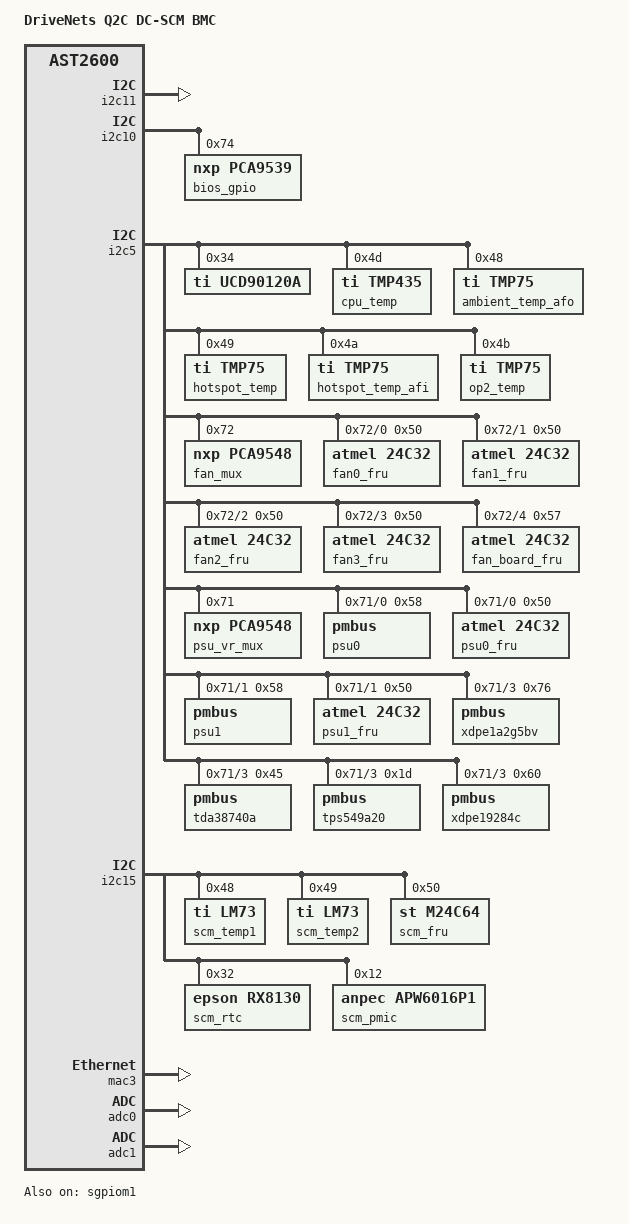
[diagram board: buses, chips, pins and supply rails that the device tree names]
// SPDX-License-Identifier: GPL-2.0+
// Copyright (c) 2024 DriveNets
//
// DriveNets Q2C BMC Device Tree
// BMC SoC: ASPEED AST2620 (AST2600-family variant)
//
// ============================================================================
// ARCHITECTURE (confirmed from schematic 8AESQ2SCM0A1G_SCH_20260203 PDF read
//               2026-03-05, and I2C tree diagram Q2C_I2C_Tree_20260123)
// ============================================================================
//
//  The AST2620 BMC is on the DC-SCM (Data Center Secure Control Module),
//  an OCP DC-SCM v2 form-factor module manufactured by Alpha Networks
//  (part number 8AESQ2CMB0A1G).  The DC-SCM plugs into the Q2C carrier board
//  via a Gold Finger connector.
//
//  I2C Bus Map (confirmed from block diagram and schematic):
//
//  LOCAL DC-SCM bus (BMC_I2C15, GPIOH4/H5, signal I2C_BMC_R_SCL15/SDA15):
//    &i2c15 : TEMP1@0x48, TEMP2@0x49, FRU EE@0x50, RTC@0x32,
//             PMIC@0x14, SCM PLD@0x40
//
//  Gold Finger (SCI-CONN) buses — AST2620 controller → connector signal → pins:
//    &i2c11 (BMC_I2C11) → I2C_3V3_0  → A15/A16  (carrier devices TBD)
//    &i2c10 (BMC_I2C10) → I2C_3V3_4  → A45/A46  (PCA9539#27 BIOS GPIO @0x74)
//    &i2c5  (BMC_I2C5)  → I2C_3V3_5  → A47/A48  (UCD90120A, TMP435, TMP75s,
//                                                   PCA9548#16 fan, PCA9548#15 PSU/VR)
//    &i2c8  (BMC_I2C8)  → I2C_I3C_1V8_13 → A61/A62  (via VT, TBD)
//    &i2c16 (BMC_I2C16) → PFR I3C1   → I2C_I3C_1V8_14 → B39/B40 (via MIX)
//    [further I3C/HVI3C buses: I2C2/3/4→HVI3C4/5/6, I3C1/2 on 1V0 — TBD]
//
//  PFR chip: PROT_AST1060 (Aspeed AST1060)
//    BMC → AST1060: via BMC_I2C12, BMC_I2C7, BMC_I2C9, BMC_I2C6, BMC_HVI3C3
//    AST1060 → gold finger: SMBF1→I2C_3V3_2(A26/A27), SMBF2→I2C_3V3_1(A17/A18),
//                           SMBF3→I2C_3V3_3(A43/A44), SMBF4→TBD
//    AST1060 mailbox: PFR_I2C3 → VT → I2C_I3C_1V8_12 (A53/A59)
//    AST1060 → SCM PLD: PFR_I2C5 → I2C_3V3_6 (A49/A50), PLD @0x6F (TBD)
//
//  Host CPU: AMD x86 (COMe module)
//
//  Host ↔ BMC interface: LPC — BMC receives LPC from eSPI-to-LPC bridge
//    AMD COMe CPU → eSPI → ESPI_HPMCTRL bridge chip → LPC → BMC AST2620
//    The bridge chip (labeled ESPI_HPMCTRL in schematic) converts the CPU's
//    eSPI to LPC which the BMC AST2620 receives on its GPIOW LPC pins.
//
//    AST2620 LPC pins (GPIOW bank):
//      AE7 = GPIOW4_LCLK_ESPICK  → LCLK  (LPC clock from bridge)
//      AF6 = GPIOW7_LPCRST_ESPIRST# → LRST (LPC reset from bridge)
//      AB7 = GPIOW0_LAD0_ESPID0  ↔ LAD0  (LPC data, via ESPI_HPMCTRL_IO_0)
//      AB5 = GPIOW1_LAD1_ESPID1  ↔ LAD1  (via ESPI_HPMCTRL_IO_1)
//      AD5 = GPIOW2_LAD2_ESPID2  ↔ LAD2  (via ESPI_HPMCTRL_IO_2)
//      AE5 = GPIOW3_LAD3_ESPID3  ↔ LAD3  (via ESPI_HPMCTRL_IO_3)
//    KCS IPMI channels are exposed over LPC transport.
//
//  Management networking:
//    OOB NIC — Intel I210 via PCIe Gen2 x1 (reset: I210_RST_L, sch pg 4/55)
//    NCSI    — AMD x86 COMe NIC → DC-SCM MAC (TBD: mac0 or mac1)
//
//  UART / Console:
//    UART0_BMC + UART1_BMC → physical MUX (UART_SEL push-button)
//    MUX output → Console Board → UART_RJ45 (RS-232)
//    Console UART: ttyS4 (UART5) — confirmed via ast2600_openbmc_spl_defconfig
//    CONFIG_BOOTARGS="console=ttyS4,115200n8 root=/dev/ram rw"
//
//  SGPIO:
//    SGPIOM1 (GPIOH0-H3) → SCM PLD → panel LEDs  (only chain, confirmed)
//    SGPIOM0: NOT used — no SGPIOM0 signals found in schematic.
//
//  Fan control: via SCM PLD (I2C15 @0x40) — PLD generates PWM/tach signals.
//    AST2620 GPIOF0-F7 carry PWM8-15 function but are pulled-down on Q2C
//    (R31T 100k pull-down = unused).  Fan setpoints written to PLD over I2C.
// ============================================================================

// TODO: For production, replace this EVB include with the SoC dtsi
// (#include "aspeed-g6.dtsi") and explicitly enable only the peripherals
// Q2C needs (fmc, spi, uart, mac, i2c, etc.).  Keeping EVB for now to
// inherit working flash/uart/mac defaults while I2C topology is validated.
#include "aspeed-ast2600-evb.dts"

/ {
	model = "DriveNets Q2C DC-SCM BMC";
	// AST2620 is a variant of AST2600; include both for kernel matching.
	compatible = "drivenets,q2c-bmc", "aspeed,ast2620", "aspeed,ast2600";
};

// ---------------------------------------------------------------------------
// i2c11 — Gold Finger I2C_3V3_0 (BMC_I2C11, connector pins A15/A16)
//
// This bus reaches the carrier board via the gold finger connector.
// SCM FRU EEPROM is on the LOCAL bus i2c15 (not here).
// Carrier-side devices on this bus: TBD.
// ---------------------------------------------------------------------------
&i2c11 {
	status = "okay";
	/* TODO: add carrier-board devices on I2C_3V3_0 once identified */
};

// ---------------------------------------------------------------------------
// i2c10 — BIOS update bus (BMC_I2C10, Gold Finger I2C_3V3_4, pins A45/A46)
//
// Confirmed: PCA9539#27 GPIO expander at 0x74 for BIOS SPI updates.
// ---------------------------------------------------------------------------
&i2c10 {
	status = "okay";

	bios_gpio: pca9539@74 {
		compatible = "nxp,pca9539";
		reg = <0x74>;
		gpio-controller;
		#gpio-cells = <2>;
	};
};

// ---------------------------------------------------------------------------
// i2c5 — Main sensor/management bus (I2C_3V3_5, Gold Finger A47/A48)
//
// Signal name: SCL5_BMC_CPLD_UCD_FRU / SDA5_BMC_CPLD_UCD_FRU
//
// Direct devices (confirmed from schematic pg 34 and I2C tree):
//   UCD90120A   — power sequencer at 0x34
//   TMP435      — dual-channel temp (local + CPU remote) at 0x4D
//   TMP75#0     — Ambient Thermal Sensor For AFO at 0x48
//   TMP75#1     — Hot Spot Thermal Sensor at 0x49
//   TMP75#2     — Hot Spot Thermal Sensor For AFI at 0x4A
//   TMP75#3     — Thermal Sensor For OP2 at 0x4B
//
// Muxed devices:
//   PCA9548#16  — Fan Extension Board mux at 0x72 (reset: 9548#16_RST_L)
//   PCA9548#15  — PSU / Voltage Regulator mux at 0x71
// ---------------------------------------------------------------------------
&i2c5 {
	status = "okay";

	ucd90120a: ucd90120a@34 {
		compatible = "ti,ucd90120a";
		reg = <0x34>;
	};

	tmp435: temperature-sensor@4d {
		compatible = "ti,tmp435";
		reg = <0x4d>;
		label = "cpu_temp";
		#thermal-sensor-cells = <1>;
	};

	tmp75_0: temperature-sensor@48 {
		compatible = "ti,tmp75";
		reg = <0x48>;
		label = "ambient_temp_afo";
		#thermal-sensor-cells = <0>;
	};

	tmp75_1: temperature-sensor@49 {
		compatible = "ti,tmp75";
		reg = <0x49>;
		label = "hotspot_temp";
		#thermal-sensor-cells = <0>;
	};

	tmp75_2: temperature-sensor@4a {
		compatible = "ti,tmp75";
		reg = <0x4a>;
		label = "hotspot_temp_afi";
		#thermal-sensor-cells = <0>;
	};

	tmp75_3: temperature-sensor@4b {
		compatible = "ti,tmp75";
		reg = <0x4b>;
		label = "op2_temp";
		#thermal-sensor-cells = <0>;
	};

	// PCA9548#16 — Fan Extension Board mux
	fan_mux: i2c-mux@72 {
		compatible = "nxp,pca9548";
		reg = <0x72>;
		#address-cells = <1>;
		#size-cells = <0>;
		i2c-mux-idle-disconnect;

		i2c@0 {
			#address-cells = <1>;
			#size-cells = <0>;
			reg = <0>;
			fan0_eeprom: eeprom@50 {
				compatible = "atmel,24c32";
				reg = <0x50>;
				label = "fan0_fru";
			};
		};

		i2c@1 {
			#address-cells = <1>;
			#size-cells = <0>;
			reg = <1>;
			fan1_eeprom: eeprom@50 {
				compatible = "atmel,24c32";
				reg = <0x50>;
				label = "fan1_fru";
			};
		};

		i2c@2 {
			#address-cells = <1>;
			#size-cells = <0>;
			reg = <2>;
			fan2_eeprom: eeprom@50 {
				compatible = "atmel,24c32";
				reg = <0x50>;
				label = "fan2_fru";
			};
		};

		i2c@3 {
			#address-cells = <1>;
			#size-cells = <0>;
			reg = <3>;
			fan3_eeprom: eeprom@50 {
				compatible = "atmel,24c32";
				reg = <0x50>;
				label = "fan3_fru";
			};
		};

		i2c@4 {
			#address-cells = <1>;
			#size-cells = <0>;
			reg = <4>;
			fan_board_eeprom: eeprom@57 {
				compatible = "atmel,24c32";
				reg = <0x57>;
				label = "fan_board_fru";
			};
		};
	};

	// PCA9548#15 — PSU and Voltage Regulator mux
	psu_vr_mux: i2c-mux@71 {
		compatible = "nxp,pca9548";
		reg = <0x71>;
		#address-cells = <1>;
		#size-cells = <0>;
		i2c-mux-idle-disconnect;

		// CH0: PSU0 (via ISO level shifter)
		i2c@0 {
			#address-cells = <1>;
			#size-cells = <0>;
			reg = <0>;
			psu0: power-supply@58 {
				compatible = "pmbus";
				reg = <0x58>;
				label = "psu0";
			};
			psu0_eeprom: eeprom@50 {
				compatible = "atmel,24c32";
				reg = <0x50>;
				label = "psu0_fru";
			};
		};

		// CH1: PSU1 (via ISO level shifter)
		i2c@1 {
			#address-cells = <1>;
			#size-cells = <0>;
			reg = <1>;
			psu1: power-supply@58 {
				compatible = "pmbus";
				reg = <0x58>;
				label = "psu1";
			};
			psu1_eeprom: eeprom@50 {
				compatible = "atmel,24c32";
				reg = <0x50>;
				label = "psu1_fru";
			};
		};

		// CH3: Voltage regulators
		i2c@3 {
			#address-cells = <1>;
			#size-cells = <0>;
			reg = <3>;
			xdpe1a2g5bv: pmbus@76 {
				compatible = "pmbus";
				reg = <0x76>;
			};
			tda38740a: pmbus@45 {
				compatible = "pmbus";
				reg = <0x45>;
			};
			tps549a20: pmbus@1d {
				compatible = "pmbus";
				reg = <0x1d>;
			};
			xdpe19284c: pmbus@60 {
				compatible = "pmbus";
				reg = <0x60>;
			};
		};
	};
};

// ---------------------------------------------------------------------------
// SGPIOM1 — drives Q2C carrier board panel LEDs via SCM PLD
//
// Hardware: SGPIOM1_BMC_PLD_{CLK,LD,DO} → PLD (OUT on GPIOH0/H1/H2)
//           SGPIOM1_PLD_BMC_DI ← PLD (IN on GPIOH3)
// AST2620 pins: GPIOH0=A18, GPIOH1=B18, GPIOH2=C18, GPIOH3=A17
// Schematic: SGPIOM1 (not SGPIOM0) — confirmed from schematic I2C/SGPIO page.
//
// Bit assignments are PLACEHOLDERS — verify from SCM PLD firmware.
// ---------------------------------------------------------------------------
&sgpiom1 {
	status = "okay";
	ngpios = <32>;
	gpio-line-names =
		"led-system-green",  "led-system-amber",
		"led-psu0-green",    "led-psu0-amber",
		"led-psu1-green",    "led-psu1-amber",
		"led-fan-green",     "led-fan-amber",
		"led-sync-green",    "led-sync-amber",
		"led-fan0-green",    "led-fan0-amber",
		"led-fan1-green",    "led-fan1-amber",
		"led-fan2-green",    "led-fan2-amber",
		"led-fan3-green",    "led-fan3-amber",
		"", "", "", "", "", "", "", "",
		"", "", "", "", "", "", "", "";
};

// ---------------------------------------------------------------------------
// GPIO — named lines from the DC-SCM / carrier board
//
// ARCHITECTURE NOTE (confirmed from full schematic PDF 8AESQ2SCM0A1G_SCH_20260203,
//                   read 2026-03-05):
//   Platform signals route through the SCM PLD.  The BMC monitors PLD→BMC status
//   via the GPIOQ bank (TACH0-7 function pins) and GPIOR bank (TACH8-15 function
//   pins).  BMC control outputs to PLD use the GPIOO bank (PWM0-7 function) and
//   GPIOP bank (PWM8-15/THRU function).
//
//   GPIO bank layout (all balls confirmed from pg 23 "AST2600 4/6", 2026-03-05):
//
//   GPIOO (PWM0-7 function — BMC→PLD control outputs):
//     O0 (AD26)  O1 (AD22)  O2 (AD23)  O3 (AD24)
//     O4 (AD25)  O5 (AC22)  O6 (AC24)  O7 (AC23)
//     Signals from PLD pg 27: BMC_PLD_GPIOO1/2/3/6/7
//
//   GPIOP (PWM8-15/THRU function — mixed):
//     P0 (AB22) THRUIN0   P1 (W24) THRUOUT0   P2 (AA23) THRUIN1   P3 (AA24) THRUOUT1
//     P4 (W23) THRUIN2    P5 (AB23) THRUOUT2   P6 (AB24)            P7 (Y23) HBLED#
//
//   GPIOQ (TACH0-7 function — PLD→BMC status inputs):
//     Q0 (AA25)  Q1 (AB25)  Q2 (Y24)  Q3 (AB26)
//     Q4 (Y26)   Q5 (AC26)  Q6 (Y25)  Q7 (AA26)
//     Signals from PLD pg 27/28/31: PLD_BMC_GPIOQ0/3/4/5/6/7
//
//   GPIOR (TACH8-15 function — mixed):
//     R0 (V25)  R1 (U24)  R2 (V24)  R3 (V26)
//     R4 (U25)  R5 (T23)  R6 (W26)  R7 (U26)
//     R0-R2: PLD_BMC_GPIOR0/1/2 (inputs)    R4: FM_BMC_READY_N (output)
//     R5: PWRGD_P12V_AUX1 (input)            R6: FM_THERMTRIP_N (input)
//     R7: IRQ_SMI_BMC_N (input from PLD)
//
//   GPIOB0 (J26): hpm-bmc-stby-rdy (SALT1 mode, input from HPM FPGA)
// ---------------------------------------------------------------------------
&gpio0 {
	gpio-line-names =
	// A0-A7
	// A4-A7: SGPIOM2 function (SGPM2CK/LD/O/I to SCM PLD) — see sgpiom2 node
	"", "", "", "", "", "", "", "",
	// B0-B7
	// B0 (J26) = GPIOB0_SALT1: hpm-bmc-stby-rdy (input from HPM FPGA)
	// B1 (K23) = GPIOB1_SALT2: signal TBD
	// B6 (H25) = GPIOB6_TXD4: UART4 TX to PLD [pg 27]
	// B7 (J24) = GPIOB7_RXD4: UART4 RX from PLD [pg 27]
	"hpm-bmc-stby-rdy", "", "", "", "", "", "", "",
	// C0-C7 (RGMII3/MAC3 pins — not used as named GPIOs)
	"", "", "", "", "", "", "", "",
	// D0-D7 (RGMII4/MAC4 pins — MAC4 carries NCSI)
	"", "", "", "", "", "", "", "",
	// E0-E7 (RGMII4/MAC4 pins continued)
	"", "", "", "", "", "", "", "",
	// F0-F7 (GPIOF0-F7 = SD1/PWM8-15, pulled down — unused on Q2C)
	"", "", "", "", "", "", "", "",
	// G0-G7 (GPIOG0-G7 = SD2/SALT, pulled down — unused on Q2C)
	"", "", "", "", "", "", "", "",
	// H0-H7 (H0-H3 = SGPIOM1 to PLD; H4-H7 = I2C15/I2C16)
	"", "", "", "", "", "", "", "",
	// I0-I7 (I0-I4=JTAG-M2 to HPM; I5-I7=ACPI PLD_BMC_GPIOI5/6/7)
	"", "", "", "", "", "", "", "",
	// J0-J7 (I2C bus pins)
	"", "", "", "", "", "", "", "",
	// K0-K7 (I2C bus pins)
	"", "", "", "", "", "", "", "",
	// L0-L7 (I2C/VGA pins)
	"", "", "", "", "", "", "", "",
	// M0-M7 (UART1 modem control; M6=UART1 TX, M7=UART1 RX to PLD [pg 29])
	"", "", "", "", "", "", "", "",
	// N0-N7 (UART2; N6=UART2 TX, N7=UART2 RX to PLD [pg 27])
	"", "", "", "", "", "", "", "",
	// O0-O7 (GPIOO bank: PWM0-7 function — BMC→PLD control outputs)
	// All balls confirmed from schematic pg 23 (AST2600 4/6), 2026-03-05 PDF read.
	// O0 (AD26): unassigned   O4 (AD25): unassigned
	// O1 (AD22): BMC_PLD_GPIOO1 → PLD [pg 27]
	// O2 (AD23): BMC_PLD_GPIOO2 → PLD PROGRAMN (PLD programming control)
	// O3 (AD24): BMC_PLD_GPIOO3 → PLD [pg 27]
	// O6 (AC24): BMC_PLD_GPIOO6 → PLD JTAGENB (PLD JTAG enable)
	// O7 (AC23): BMC_PLD_GPIOO7 → PLD [pg 27]
	"",               // O0 (AD26) unassigned
	"bmc-pld-gpioo1", // O1 (AD22) BMC_PLD_GPIOO1 → PLD [pg 27]
	"pld-programn",   // O2 (AD23) BMC_PLD_GPIOO2 → PLD PROGRAMN
	"bmc-pld-gpioo3", // O3 (AD24) BMC_PLD_GPIOO3 → PLD [pg 27]
	"",               // O4 (AD25) unassigned
	"",               // O5 (AC22) unassigned
	"pld-jtagenb",    // O6 (AC24) BMC_PLD_GPIOO6 → PLD JTAGENB
	"bmc-pld-gpioo7", // O7 (AC23) BMC_PLD_GPIOO7 → PLD [pg 27]
	// P0-P7 (GPIOP bank: PWM8-15/THRU function — mixed input/output)
	// All balls confirmed from schematic pg 23 (AST2600 4/6), 2026-03-05 PDF read.
	// THRU pairs: P0(THRUIN0)/P1(THRUOUT0), P2/P3, P4/P5.
	// P0 (AB22): PCIE_HPM_SCM_PLD_PERST_N — INPUT from PLD [pg 27] via THRUIN0
	// P1 (W24):  BMC_PLD_GPIOP1 — OUTPUT to PLD [pg 31] via THRUOUT0
	// P2 (AA23): unassigned (THRUIN1)
	// P3 (AA24): BMC_PLD_GPIOP3 — OUTPUT to PLD [pg 31] via THRUOUT1
	// P4 (W23):  unassigned (THRUIN2)
	// P5 (AB23): BMC_PLD_GPIOP4 — OUTPUT to PLD [pg 30] via THRUOUT2
	//            (PLD names this "GPIOP4" — maps to AST2620 GPIOP5/THRUOUT2)
	// P6 (AB24): PCIE_AST2600_RST# — OUTPUT to gold finger [pg 9]
	// P7 (Y23):  FM_BMC_HEARTBEAT_N — BMC heartbeat to PLD (HBLED# function)
	"pcie-hpm-scm-pld-perst-n", // P0 (AB22) INPUT from PLD [pg 27]
	"bmc-pld-gpiop1",            // P1 (W24)  OUTPUT to PLD [pg 31]
	"",                          // P2 (AA23) unassigned
	"bmc-pld-gpiop3",            // P3 (AA24) OUTPUT to PLD [pg 31]
	"",                          // P4 (W23)  unassigned
	"bmc-pld-gpiop4",            // P5 (AB23) OUTPUT to PLD [pg 30]
	"pcie-ast2600-rst-n",        // P6 (AB24) PCIE_AST2600_RST# [pg 9]
	"fm-bmc-heartbeat-n",        // P7 (Y23)  FM_BMC_HEARTBEAT_N (HBLED#)
	// Q0-Q7 (GPIOQ bank: TACH0-7 function — PLD→BMC status inputs)
	// All balls confirmed from schematic pg 23 (AST2600 4/6), 2026-03-05 PDF read.
	// Q1 (AB25): unlabeled in schematic — possibly PLD_BMC_GPIOQ1 or unused.
	// Q2 (Y24): no connect (confirmed in schematic).
	// Signals confirmed from PLD pages 27/28/31.
	// Q6/Q7 CORRECTED: Q6=Y25 and Q7=AA26 (previously swapped in DTS).
	"pld-bmc-gpioq0", // Q0 (AA25) PLD_BMC_GPIOQ0 [pg 27]
	"",               // Q1 (AB25) unlabeled/unused
	"",               // Q2 (Y24)  no connect
	"pld-bmc-gpioq3", // Q3 (AB26) PLD_BMC_GPIOQ3 [pg 31]
	"pld-bmc-gpioq4", // Q4 (Y26)  PLD_BMC_GPIOQ4 [pg 31]
	"pld-bmc-gpioq5", // Q5 (AC26) PLD_BMC_GPIOQ5 [pg 27]
	"pld-bmc-gpioq6", // Q6 (Y25)  PLD_BMC_GPIOQ6 [pg 27] — CORRECTED (was AA26)
	"pld-bmc-gpioq7", // Q7 (AA26) PLD_BMC_GPIOQ7 [pg 28] — CORRECTED (was Y25)
	// R0-R7 (GPIOR bank: TACH8-15 function — mixed input/output)
	// All balls confirmed from schematic pg 23 (AST2600 4/6), 2026-03-05 PDF read.
	// CORRECTIONS: R0=V25, R1=U24, R2=V24, R3=V26, R4=U25 (all shifted vs old DTS).
	// R3 (V26): unassigned (not fm-bmc-ready-n — that is at R4).
	// R4 (U25): FM_BMC_READY_N — OUTPUT (was wrongly at R3 in old DTS).
	"pld-bmc-gpior0",  // R0 (V25) PLD_BMC_GPIOR0 INPUT [pg 27] — CORRECTED (was U24)
	"pld-bmc-gpior1",  // R1 (U24) PLD_BMC_GPIOR1 INPUT [pg 27] — CORRECTED (new)
	"pld-bmc-gpior2",  // R2 (V24) PLD_BMC_GPIOR2 INPUT [pg 27] — CORRECTED (was V26)
	"",                // R3 (V26) unassigned — CORRECTED (fm-bmc-ready-n was wrong)
	"fm-bmc-ready-n",  // R4 (U25) FM_BMC_READY_N OUTPUT [pg 27] — CORRECTED (was R3)
	"pwrgd-p12v-aux1", // R5 (T23) PWRGD_P12V_AUX1 INPUT [pg 27] ✓
	"fm-thermtrip-n",  // R6 (W26) FM_THERMTRIP_N INPUT via R86 [pg 31] ✓
	"irq-smi-bmc-n";   // R7 (U26) IRQ_SMI_BMC_N INPUT [pg 27] ✓
	// Signals confirmed from PLD schematic but AST2620 bank/bit still TBD:
	//   irq-nmi-event-n      ← IRQ_NMI_EVENT_R_N [pg 28]
	//   sys-pwrok-bmc        ← SYS_PWROK_BMC [pg 28] → AST2620 GPIOV/GPIOI region
	//   fm-bios-post-cmplt-n ← FM_BIOS_POST_CMPLT_N [pg 28]
	//   pld-irq-n            ← PLD_IRQ_N [pg 28]
	//   rst-rsmrst-n         ← RST_RSMRST_N [pg 28]
	//   rst-pfr-bmc-ssprst-n ← RST_PFR_BMC_SSPRST_N [pg 28]
};

// ---------------------------------------------------------------------------
// i2c15 — LOCAL DC-SCM bus (BMC_I2C15, signal I2C_BMC_R_SCL15/SDA15)
//
// AST2620 pins: GPIOH4=D18 (SCL), GPIOH5=B17 (SDA) — muxed from SGPS1
// This bus is entirely within the DC-SCM module and does NOT go through
// the gold finger connector.
//
// Confirmed devices (from schematic pg 34 "TMP_EE_RTC" and pg 36 "PMIC",
//                   full PDF read 2026-03-05):
//   TEMP1        — LM73CIMK temp sensor at 0x48 (part confirmed)
//   TEMP2        — LM73CIMK temp sensor at 0x49 (part confirmed)
//   FRU EE       — ST M24C64-RMN6TP EEPROM at 0x50 (8KB, pagesize 32B)
//   RTC          — Epson RX8130CE real-time clock at 0x32 (part confirmed)
//   PMIC         — APW6016P1 DC-DC converter at 0x12 (part confirmed)
//   SCM PLD      — Platform Logic Device at 0x40 (update/programming interface)
//                  Also exposed at 0x6F via PFR_I2C5 on carrier (TBD)
// ---------------------------------------------------------------------------
&i2c15 {
	status = "okay";

	scm_temp1: temperature-sensor@48 {
		compatible = "ti,lm73";
		reg = <0x48>;
		label = "scm_temp1";
		#thermal-sensor-cells = <0>;
	};

	scm_temp2: temperature-sensor@49 {
		compatible = "ti,lm73";
		reg = <0x49>;
		label = "scm_temp2";
		#thermal-sensor-cells = <0>;
	};

	scm_fru: eeprom@50 {
		compatible = "st,m24c64";
		reg = <0x50>;
		label = "scm_fru";
		pagesize = <32>;
	};

	scm_rtc: rtc@32 {
		compatible = "epson,rx8130";
		reg = <0x32>;
	};

	scm_pmic: regulator@12 {
		/* APW6016P1 step-down DC-DC converter (confirmed from pg 36) */
		compatible = "anpec,apw6016p1";
		reg = <0x12>;
	};

	scm_pld: i2c-slave@40 {
		/* SCM PLD — Lattice LCMXO3D-9400HC-5BG256C (BGA256 16x16)
		 * This address (0x40) is the update/programming interface.
		 * PLD firmware provides: fan control, SGPIO panel LEDs (SGPIOM1),
		 * SGPIO HPM chain (SGPIO_SCM_HPM_CLK/LD/DO/DI → HPM FPGA [9]),
		 * SGPIO PFR chain (SGPIO_PFR_LD_N, SGPIO_PFR_DIN → AST1060 [10]),
		 * BMC↔PLD GPIO bus (PLD_BMC_GPIO0-7 on GPIOO, BMC_PLD_GPIO0-7 on GPIOP),
		 * UART5 data channel (UART5_TX/RX_BMC_PLD_DATA [21,26]).
		 * A second address 0x6F is accessible via PFR I2C5 (TBD).
		 * Replace compatible with actual userspace/kernel driver when available. */
		reg = <0x40>;
	};
};

// ---------------------------------------------------------------------------
// i2c16 — BMC ↔ PROT_AST1060 (PFR chip) primary I2C link (BMC_I2C16)
//
// Schematic signal: I2C_BMC_PFR_SCL16_R / I2C_BMC_PFR_SDA16_R
// AST2620 pins: GPIOH6=C17 (SCL), GPIOH7=E18 (SDA)
//
// PFR chip: Aspeed PROT_AST1060 (firmware resilience co-processor)
//   The AST1060 sits between the BMC and carrier-board I2C buses, acting as
//   a firewall.  It exposes filtered buses to the gold finger (SMBF1-4) and
//   provides a mailbox interface at I2C_I3C_1V8_12 (gold finger A53/A59).
//
//   BMC → AST1060 management: also via BMC_I2C12, BMC_I2C7, BMC_I2C9,
//                              BMC_I2C6, BMC_HVI3C3_I2C1 (bus topology TBD).
//   AST1060 I2C address for BMC access: TBD (typically 0x38 or 0x70).
// ---------------------------------------------------------------------------
// &i2c16 is not defined in aspeed-g6.dtsi (AST2600 only has i2c0–i2c15).
// BMC_I2C16 / PFR AST1060 link — enable once upstream DTSI adds the label.
// &i2c16 {
// 	status = "okay";
// 	/* TODO: add AST1060 node (address TBD) once PFR firmware I2C map is confirmed */
// };

// ---------------------------------------------------------------------------
// LPC / KCS — host IPMI interface (BMC receives LPC from eSPI-to-LPC bridge)
//
// AMD COMe CPU → eSPI → ESPI_HPMCTRL bridge → LPC → AST2620 GPIOW pins
// The BMC is in standard LPC mode (not eSPI peripheral mode).
//
// KCS channel IO port address: TBD — standard IPMI is 0xCA2/0xCA3 (KCS3).
// Confirm from BIOS config or ipmitool on the host side on first boot.
// ---------------------------------------------------------------------------
// &lpc_ctrl {
//     status = "okay";
// };
// &kcs3 {
//     status = "okay";
//     aspeed,lpc-io-reg = <0xCA2 0xCA3>;
// };

// SGPIOM0 — NOT used on Q2C (no SGPIOM0 signals found in schematic).

// ---------------------------------------------------------------------------
// SGPIOM2 — second SGPIO master chain between BMC and SCM PLD
//
// All four SGPIOM2 signals confirmed from PLD U2 schematic [pg 20]:
//   SGPIOM2_BMC_PLD_CLK  — BMC drives clock  (IN to PLD)  [pg 20]
//   SGPIOM2_BMC_PLD_DO   — BMC drives data   (IN to PLD)  [pg 20]
//   SGPIOM2_BMC_PLD_LD   — BMC drives LOAD   (IN to PLD)  [pg 20]
//   SGPIOM2_BMC_PLD_DI   — PLD drives data   (OUT from PLD, BMC reads) [pg 20]
//
// BMC is SGPIO master; SCM PLD is slave.  This chain carries PLD status bits
// that don't fit on SGPIOM1 (panel LEDs) or the GPIOO bank.
//
// AST2620 pinmux: GPIOA4-A7 (balls K26/L24/L23/K25) confirmed from pg 20
// schematic review, 2026-03-05.  Use pinctrl_sgpm2ck/ld/o/i_default.
// Bit count and data format: TBD from PLD firmware docs.
// ---------------------------------------------------------------------------
// &sgpiom2 {
//     status = "okay";
//     /* SCM PLD SGPIOM2 slave chain — bit count TBD from PLD firmware */
//     ngpios = <TBD>;
//     gpio-line-names = /* TBD */;
// };

// ---------------------------------------------------------------------------
// Fan PWM/tach — NOT driven directly by AST2620 PWM hardware.
// AST2620 GPIOF0-F7 carry PWM8-15 function but are pulled down (R31T 100k)
// and not connected to fans on Q2C.
// Fan control is via the SCM PLD at i2c15 @0x40.
// ---------------------------------------------------------------------------
// pwm_tacho does not exist in aspeed-g6.dtsi (AST2600). The old combined
// PWM/tach controller is only in AST2400/AST2500 (g4/g5). Fan control on
// Q2C is via the SCM PLD over i2c15 @0x40, so no direct PWM is needed.
// &pwm_tacho {
// 	status = "disabled";
// };

// ---------------------------------------------------------------------------
// UART / Console
//
// UART0_BMC + UART1_BMC → physical MUX (UART_SEL push-button) → Console Board → UART_RJ45
// Console UART: ttyS4 (UART5) — confirmed from ast2600_openbmc_spl_defconfig.
//
// BMC ↔ SCM PLD UART channels (confirmed from PLD U2 schematic):
//   UART2_TX_BMC_PLD_DATA [21]    — BMC → PLD  (IN to PLD)
//   UART4_TX_BMC_PLD_DATA [21]    — PLD → BMC  (OUT from PLD, BMC receives on UART4 RX)
//   UART5_RX_PLD_BMC_DATA [21,31] — BMC → PLD  (BMC UART5 TX, IN to PLD, via R328 33Ω)
//   UART5_TX_BMC_PLD_DATA [21,26] — PLD → BMC  (BMC UART5 RX, via R371 33Ω + JP1 debug)
//
// PFR-related UART channels (via PLD, not direct to BMC):
//   UART1_TX_PFR_PLD_DATA [12,14,31] — PFR → PLD (via R349 33Ω, OUT from PLD side)
//
// Enable UART nodes once protocol per channel is defined and ttyS mapping confirmed.
// ---------------------------------------------------------------------------
// &uart5 {
//     status = "okay";
//     /* BMC ↔ SCM PLD extended data channel (UART5_TX/RX_BMC_PLD_DATA) */
// };

// ---------------------------------------------------------------------------
// Management Network
//
// 1. OOB NIC — Intel I210 via PCIe Gen2 x1 (reset: I210_RST_L)
// 2. NCSI — AMD x86 COMe NIC → DC-SCM MAC4 (RGMII4 pins confirmed from pg 23)
//
// AST2620 MAC4 = kernel mac3 (0-indexed).  RGMII4 signal group confirmed on
// AST2620 ball D-row (MAC4 RGMII signals) from schematic pg 23, 2026-03-05.
// ---------------------------------------------------------------------------
&mac3 {
	use-ncsi;
	status = "okay";
};

// ---------------------------------------------------------------------------
// ADC — Voltage Rail Sensing
// Resistors confirmed from schematic pg 32 (zoomed images 2026-03-04).
// Channel → pin mapping confirmed from schematic pg 23 (2026-03-04 image).
//
// aspeed_adc iio driver: V_real = (raw × 1800 mV / 4096) × scale_factor
// Scale factor = (R_top + R_bottom) / R_bottom (direct-sense rails = 1.0).
//
// FULL CONFIRMED MAPPING (13 active channels, confirmed from pg 23 + pg 32 PDF):
//   Ch  GPIO/SALT  Ball  Signal                      R_top  R_bot  Scale
//   ──  ─────────  ────  ──────────────────────────  ─────  ─────  ─────
//   0   GPIT0      AD20  VCC_12V_SENSE (P12V_AUX)    20k   2.49k  9.036
//   1   GPIT1      AC18  VCC_3V3_SENSE                3k    2k    2.500
//   2   GPIT2      AE19  VCC_2V5_SENSE                2k   2.49k  1.803
//   3   GPIT3      AD19  VCC_1V8_SENSE                2k    3k    1.667
//   4   GPIT4      AC19  VCC_DDRVDDQ_SENSE (1.2V)  direct  —     1.000
//   5   GPIT5      AB19  VCC_1V0_SENSE (1.0V)      direct  —     1.000
//   6   GPIT6      AB18  VCC_DDRVTT_SENSE (~0.6V)  direct  —     1.000
//   7   GPIT7      AE18  A_P3V_BAT_SCALED            200k  100k   3.000
//                          (MOSFET OR: D7/D8=SBR1A040S3-7, Q=MTDH500RETU-G)
//   8   GPIU0/S9   AB16  VCC_3V3_RGM_SENSE            3k    2k    2.500
//   9   GPIU1/S10  AA17  VCC_SCM_HPM_FRU_3V3_SENSE   3k    2k    2.500
//  10   GPIU2/S11  AB17  VCC_LS_CH1_3V3_SENSE         3k    2k    2.500
//  11   GPIU3/S12  AE16  VCC_LS_CH2_1V8_SENSE         2k    3k    1.667
//  12   GPIU4/S13  AC16  PECI_VDD_SENSE (~1V)      direct  —     1.000
//  13   GPIU5/S14  AA16  GND (unused, tied low)
//  14   GPIU6/S15  AD16  GND (unused, tied low)
//  15   GPIU7/S16  AC17  unused
//
// Ball assignments for ADC8-12 corrected from full PDF read (pg 23, 2026-03-05):
//   Prior DTS had AB17/TBD/AE16/AC16/AA16; corrected to AB16/AA17/AB17/AE16/AC16.
// ---------------------------------------------------------------------------
&adc0 {
	// ADC0-7: GPIT0-7 (balls AD20, AC18, AE19, AD19, AC19, AB19, AB18, AE18)
	// See channel table above for signal names and scale factors.
	status = "okay";
	pinctrl-names = "default";
	pinctrl-0 = <&pinctrl_adc0_default &pinctrl_adc1_default
		     &pinctrl_adc2_default &pinctrl_adc3_default
		     &pinctrl_adc4_default &pinctrl_adc5_default
		     &pinctrl_adc6_default &pinctrl_adc7_default>;
};

&adc1 {
	// ADC8-12: GPIU0-4/SALT9-13 (balls AB16, AA17, AB17, AE16, AC16)
	// ADC12 (GPIU4/SALT13, ball AC16) = PECI_VDD_SENSE — enabled here.
	// ADC13-15 (GPIU5-7, balls AA16/AD16/AC17) tied to GND or unused.
	// See channel table above for signal names and scale factors.
	status = "okay";
	pinctrl-names = "default";
	pinctrl-0 = <&pinctrl_adc8_default  &pinctrl_adc9_default
		     &pinctrl_adc10_default  &pinctrl_adc11_default
		     &pinctrl_adc12_default>;
};

// ---------------------------------------------------------------------------
// RESOLVED from schematic analysis (last updated 2026-03-05, full PDF read):
//  [x] AST2620 I2C controller numbers confirmed from block diagram:
//        i2c15 (BMC_I2C15) = local DC-SCM bus (I2C_BMC_R_SCL15/SDA15)
//        i2c11 (BMC_I2C11) = gold finger I2C_3V3_0 (A15/A16)
//        i2c10 (BMC_I2C10) = gold finger I2C_3V3_4 (A45/A46) — BIOS GPIO
//        i2c5  (BMC_I2C5)  = gold finger I2C_3V3_5 (A47/A48) — sensors/muxes
//        i2c16 (BMC_I2C16) = BMC-to-AST1060 PFR I2C link
//  [x] Local DC-SCM devices on i2c15 (parts confirmed from pg 34, 36, 2026-03-05):
//        TEMP1/TEMP2 = LM73CIMK at 0x48/0x49 (confirmed, not TMP75)
//        FRU EE = ST M24C64-RMN6TP at 0x50 (8KB, pagesize 32B, confirmed)
//        RTC = Epson RX8130CE at 0x32 (confirmed, not RV8803)
//        PMIC = APW6016P1 at 0x12 (confirmed, address was wrong at 0x14)
//        SCM PLD @0x40 — Lattice LCMXO3D-9400HC-5BG256C (confirmed)
//  [x] DDR4: MT40A512M16TB-062E confirmed (1GB, 16-bit DDR4, not 512MB)
//  [x] FRU EEPROM location corrected: i2c15 (local), NOT i2c11 (gold finger)
//  [x] BIOS GPIO corrected: i2c10 (BMC_I2C10), NOT i2c4
//  [x] TMP435 address: 0x4D on i2c5 (carrier bus I2C_3V3_5)
//  [x] TMP75 addresses: 0x48, 0x49, 0x4A, 0x4B on i2c5 (carrier sensors)
//  [x] UCD90120A power sequencer: 0x34 on i2c5
//  [x] PCA9548#16 fan mux: 0x72 on i2c5, CH0-3=fan EEPROMs, CH4=board EEPROM
//  [x] PCA9548#15 PSU/VR mux: 0x71 on i2c5, CH0=PSU0, CH1=PSU1, CH3=VRs
//  [x] PSU PMBus address: 0x58 (both PSU0 and PSU1)
//  [x] SGPIO interface: SGPIOM1 (not SGPIOM0) — GPIOH0-H3 (A18,B18,C18,A17)
//  [x] SGPIOM2 AST2620 pins: GPIOA4-A7 (balls K26/L24/L23/K25) — confirmed pg 20
//  [x] PFR chip identified: Aspeed PROT_AST1060
//        BMC → AST1060 via i2c16 (primary) + i2c12/7/9/6/HVI3C3 (topology TBD)
//        AST1060 → carrier: SMBF1→I2C_3V3_2, SMBF2→I2C_3V3_1, SMBF3→I2C_3V3_3
//  [x] Host ↔ BMC interface: LPC from eSPI-to-LPC bridge (ESPI_HPMCTRL)
//        AMD CPU → eSPI → ESPI_HPMCTRL → LPC → AST2620 GPIOW
//  [x] NCSI: MAC4 (kernel &mac3), RGMII4 pins — confirmed from pg 23 (2026-03-05)
//  [x] GPIO ARCHITECTURE (all balls confirmed from pg 23 full PDF, 2026-03-05):
//        GPIOO (PWM0-7):  BMC→PLD outputs — AD26/AD22/AD23/AD24/AD25/AC22/AC24/AC23
//        GPIOP (THRU):    mixed — AB22/W24/AA23/AA24/W23/AB23/AB24/Y23
//        GPIOQ (TACH0-7): PLD→BMC inputs — AA25/AB25/Y24/AB26/Y26/AC26/Y25/AA26
//        GPIOR (TACH8-15):mixed — V25/U24/V24/V26/U25/T23/W26/U26
//        CORRECTIONS vs old DTS: GPIOO/GPIOQ banks were swapped; GPIOQ was
//        incorrectly mapped to I3C/SMBF filter pins; GPIOR ball assignments shifted.
//  [x] ADC fully resolved from full PDF (pg 23 + pg 32, 2026-03-05):
//        13 active channels (ADC0-12); ADC13/14 tied to GND; ADC15 unused.
//        VCC_12V_SENSE: R_top=20k, R_bottom=2.49k, scale=9.036 (was 27k/3.48k/8.759)
//        ADC8-12 balls corrected: AB16/AA17/AB17/AE16/AC16
//        (prior DTS had AB17/TBD/AE16/AC16/AA16 — all shifted by one)
//  [x] PLD LCMXO3D-9400HC confirmed; JTAG master from BMC (MTCK1/MTMS1/MTDI1/MTDO1)
//  [x] GPIOB0 (ball J26): hpm-bmc-stby-rdy — input from HPM FPGA
//
// REMAINING TBD (updated 2026-03-05 after full PDF read):
//  1. Fan control: SCM PLD I2C register map for PWM setpoints (PLD firmware docs)
//  2. SGPIO bit assignments for SGPIOM1 panel LEDs (PLD firmware docs needed)
//  3. SGPIOM2 bit count and data format (PLD firmware docs needed)
//  4. LPC / KCS: enable &lpc_ctrl and &kcs[N] once KCS port confirmed
//     (standard IPMI KCS3 = 0xCA2/0xCA3; verify from BIOS or ipmitool)
//  5. GPIOQ1 (AB25): signal unlabeled in schematic — possibly unused
//  6. Per-bit platform meaning of GPIOQ/GPIOR signals (PSU state, PWOK, etc.)
//     from PLD firmware docs or pg 27 signal table
//  7. rpm-rstind-n, spi-hpm-scm-irq0-n, i210-rst-l: GPIO bank/bit TBD
//  8. UART nodes: enable UART2/4/5 once ttyS mapping confirmed
//  9. SCM PLD second address 0x6F (via PFR_I2C5 on carrier)
// 10. AST1060 I2C address for BMC management (typically 0x38 or 0x70)
// 11. Carrier devices on i2c11 (I2C_3V3_0, gold finger A15/A16)
// 12. irq-nmi-event-n, sys-pwrok-bmc, fm-bios-post-cmplt-n, pld-irq-n,
//     rst-rsmrst-n, rst-pfr-bmc-ssprst-n: GPIO bank/bit still TBD
//     (confirmed OUT from PLD; ball assignments need zoomed AST2620 chip view)
// 13. PFR/BMC I3C MUX topology: exact channel routing TBD
// 14. GPIOB1 (ball K23, SALT2): signal net TBD [pg 9,11,30]
// ---------------------------------------------------------------------------
